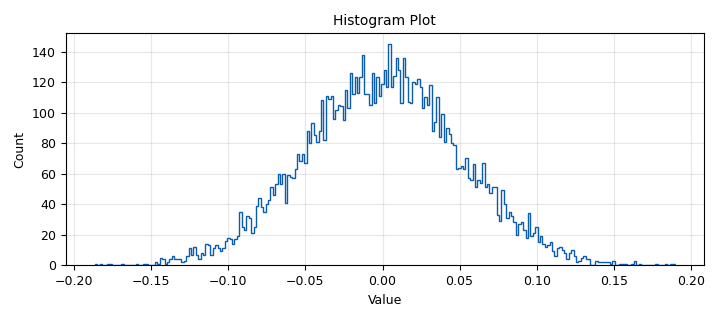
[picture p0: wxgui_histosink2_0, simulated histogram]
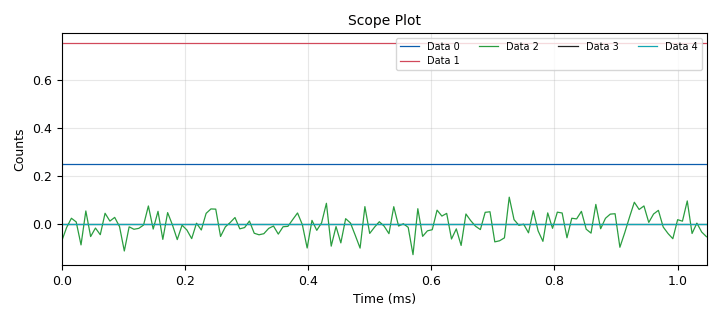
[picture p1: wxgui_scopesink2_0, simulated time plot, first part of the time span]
<?xml version='1.0' encoding='utf-8'?>
<?grc format='1' created='3.7.11'?>
<flow_graph>
<block>
<key>options</key>
<param><key>id</key><value>top_block</value></param>
<param><key>generate_options</key><value>wx_gui</value></param>
</block>
<block>
<key>variable_slider</key>
<param><key>id</key><value>const</value></param>
<param><key>converver</key><value>float_converter</value></param>
<param><key>value</key><value>0</value></param>
<param><key>label</key><value></value></param>
<param><key>max</key><value>2</value></param>
<param><key>min</key><value>-1</value></param>
<param><key>num_steps</key><value>100</value></param>
<param><key>style</key><value>wx.SL_HORIZONTAL</value></param>
</block>
<block>
<key>variable_slider</key>
<param><key>id</key><value>hi</value></param>
<param><key>converver</key><value>float_converter</value></param>
<param><key>value</key><value>0.750</value></param>
<param><key>label</key><value></value></param>
<param><key>max</key><value>1</value></param>
<param><key>min</key><value>0</value></param>
<param><key>num_steps</key><value>100</value></param>
<param><key>style</key><value>wx.SL_HORIZONTAL</value></param>
</block>
<block>
<key>variable_slider</key>
<param><key>id</key><value>lo</value></param>
<param><key>converver</key><value>float_converter</value></param>
<param><key>value</key><value>0.250</value></param>
<param><key>label</key><value></value></param>
<param><key>max</key><value>1</value></param>
<param><key>min</key><value>0</value></param>
<param><key>num_steps</key><value>100</value></param>
<param><key>style</key><value>wx.SL_HORIZONTAL</value></param>
</block>
<block>
<key>variable_slider</key>
<param><key>id</key><value>noise</value></param>
<param><key>converver</key><value>float_converter</value></param>
<param><key>value</key><value>0.05</value></param>
<param><key>label</key><value></value></param>
<param><key>max</key><value>1</value></param>
<param><key>min</key><value>0</value></param>
<param><key>num_steps</key><value>100</value></param>
<param><key>style</key><value>wx.SL_HORIZONTAL</value></param>
</block>
<block>
<key>variable</key>
<param><key>id</key><value>samp_rate</value></param>
<param><key>value</key><value>128000</value></param>
</block>
<block>
<key>analog_const_source_x</key>
<param><key>id</key><value>analog_const_source_x_0</value></param>
<param><key>const</key><value>const</value></param>
<param><key>type</key><value>float</value></param>
</block>
<block>
<key>analog_const_source_x</key>
<param><key>id</key><value>analog_const_source_x_1</value></param>
<param><key>const</key><value>lo</value></param>
<param><key>type</key><value>float</value></param>
</block>
<block>
<key>analog_const_source_x</key>
<param><key>id</key><value>analog_const_source_x_1_0</value></param>
<param><key>const</key><value>hi</value></param>
<param><key>type</key><value>float</value></param>
</block>
<block>
<key>analog_noise_source_x</key>
<param><key>id</key><value>analog_noise_source_x_0</value></param>
<param><key>amp</key><value>noise</value></param>
<param><key>noise_type</key><value>analog.GR_GAUSSIAN</value></param>
<param><key>type</key><value>float</value></param>
<param><key>seed</key><value>0</value></param>
</block>
<block>
<key>blocks_add_xx</key>
<param><key>id</key><value>blocks_add_xx_0</value></param>
<param><key>type</key><value>float</value></param>
</block>
<block>
<key>blocks_threshold_ff</key>
<param><key>id</key><value>blocks_threshold_ff_0</value></param>
<param><key>high</key><value>0.750</value></param>
<param><key>init</key><value>0</value></param>
<param><key>low</key><value>0.250</value></param>
</block>
<block>
<key>blocks_throttle</key>
<param><key>id</key><value>blocks_throttle_0</value></param>
<param><key>samples_per_second</key><value>samp_rate</value></param>
<param><key>type</key><value>float</value></param>
</block>
<block>
<key>blocks_throttle</key>
<param><key>id</key><value>blocks_throttle_0_0</value></param>
<param><key>samples_per_second</key><value>samp_rate</value></param>
<param><key>type</key><value>float</value></param>
</block>
<block>
<key>blocks_throttle</key>
<param><key>id</key><value>blocks_throttle_0_1</value></param>
<param><key>samples_per_second</key><value>samp_rate</value></param>
<param><key>type</key><value>float</value></param>
</block>
<block>
<key>blocks_throttle</key>
<param><key>id</key><value>blocks_throttle_0_2</value></param>
<param><key>samples_per_second</key><value>samp_rate</value></param>
<param><key>type</key><value>float</value></param>
</block>
<block>
<key>wxgui_histosink2</key>
<param><key>id</key><value>wxgui_histosink2_0</value></param>
<param><key>frame_size</key><value>10000</value></param>
<param><key>num_bins</key><value>241</value></param>
<param><key>title</key><value>Histogram Plot</value></param>
</block>
<block>
<key>wxgui_scopesink2</key>
<param><key>id</key><value>wxgui_scopesink2_0</value></param>
<param><key>ac_couple</key><value>False</value></param>
<param><key>num_inputs</key><value>5</value></param>
<param><key>samp_rate</key><value>samp_rate</value></param>
<param><key>t_scale</key><value>0</value></param>
<param><key>title</key><value>Scope Plot</value></param>
<param><key>trig_mode</key><value>wxgui.TRIG_MODE_AUTO</value></param>
<param><key>type</key><value>float</value></param>
<param><key>v_offset</key><value>0.500</value></param>
<param><key>v_scale</key><value>0.250</value></param>
<param><key>win_size</key><value>510,320</value></param>
<param><key>xy_mode</key><value>False</value></param>
<param><key>y_axis_label</key><value>Counts</value></param>
</block>
<connection><source_block_id>analog_const_source_x_0</source_block_id><sink_block_id>blocks_throttle_0</sink_block_id><source_key>0</source_key><sink_key>0</sink_key></connection>
<connection><source_block_id>analog_const_source_x_1</source_block_id><sink_block_id>blocks_throttle_0_1</sink_block_id><source_key>0</source_key><sink_key>0</sink_key></connection>
<connection><source_block_id>analog_const_source_x_1_0</source_block_id><sink_block_id>blocks_throttle_0_2</sink_block_id><source_key>0</source_key><sink_key>0</sink_key></connection>
<connection><source_block_id>analog_noise_source_x_0</source_block_id><sink_block_id>blocks_throttle_0_0</sink_block_id><source_key>0</source_key><sink_key>0</sink_key></connection>
<connection><source_block_id>blocks_add_xx_0</source_block_id><sink_block_id>blocks_threshold_ff_0</sink_block_id><source_key>0</source_key><sink_key>0</sink_key></connection>
<connection><source_block_id>blocks_add_xx_0</source_block_id><sink_block_id>wxgui_scopesink2_0</sink_block_id><source_key>0</source_key><sink_key>2</sink_key></connection>
<connection><source_block_id>blocks_threshold_ff_0</source_block_id><sink_block_id>wxgui_scopesink2_0</sink_block_id><source_key>0</source_key><sink_key>3</sink_key></connection>
<connection><source_block_id>blocks_throttle_0</source_block_id><sink_block_id>blocks_add_xx_0</sink_block_id><source_key>0</source_key><sink_key>0</sink_key></connection>
<connection><source_block_id>blocks_throttle_0</source_block_id><sink_block_id>wxgui_scopesink2_0</sink_block_id><source_key>0</source_key><sink_key>4</sink_key></connection>
<connection><source_block_id>blocks_throttle_0_0</source_block_id><sink_block_id>blocks_add_xx_0</sink_block_id><source_key>0</source_key><sink_key>1</sink_key></connection>
<connection><source_block_id>blocks_throttle_0_0</source_block_id><sink_block_id>wxgui_histosink2_0</sink_block_id><source_key>0</source_key><sink_key>0</sink_key></connection>
<connection><source_block_id>blocks_throttle_0_1</source_block_id><sink_block_id>wxgui_scopesink2_0</sink_block_id><source_key>0</source_key><sink_key>0</sink_key></connection>
<connection><source_block_id>blocks_throttle_0_2</source_block_id><sink_block_id>wxgui_scopesink2_0</sink_block_id><source_key>0</source_key><sink_key>1</sink_key></connection>
</flow_graph>
